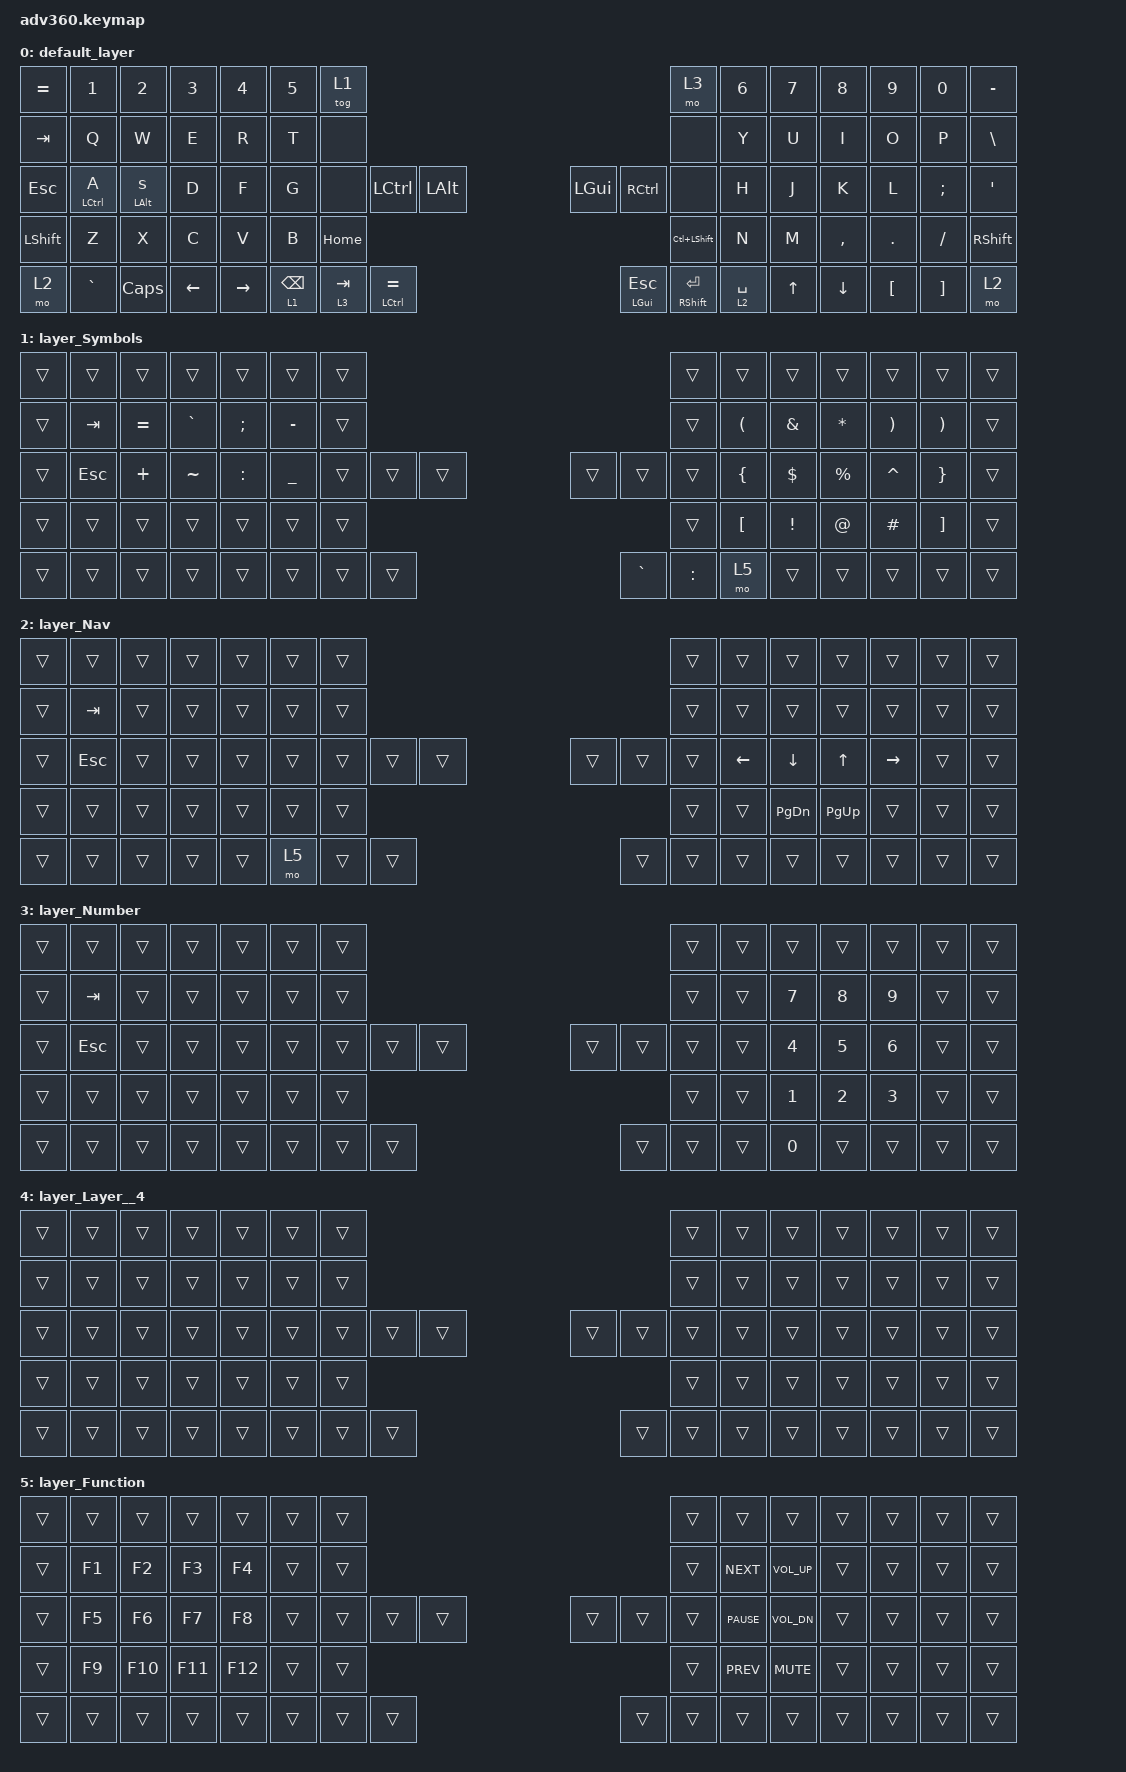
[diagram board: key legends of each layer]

/*
 * Copyright (c) 2020 The ZMK Contributors
 *
 * SPDX-License-Identifier: MIT
 */


/* THIS FILE WAS GENERATED!
 *
 * This file was generated automatically. You may or may not want to
 * edit it directly.
 */

#include <behaviors.dtsi>
#include <dt-bindings/zmk/keys.h>

/ {
  behaviors {
    #include "macros.dtsi"
    #include "version.dtsi"

    hm: homerow_mods {
        compatible = "zmk,behavior-hold-tap";
        label = "HOMEROW_MODS";
        #binding-cells = <2>;
        tapping-term-ms = <200>;
        quick_tap_ms = <175>;
        flavor = "tap-preferred";
        bindings = <&kp>, <&kp>;
    };
  };

    keymap {
        compatible = "zmk,keymap";


        default_layer {
            bindings = <
 &kp EQUAL       &kp N1          &kp N2    &kp N3     &kp N4  &kp N5                     &tog 1                                                                                               &mo 3  &kp N6  &kp N7     &kp N8    &kp N9    &kp N0  &kp MINUS
   &kp TAB        &kp Q           &kp W     &kp E      &kp R   &kp T                      &none                                                                                               &none   &kp Y   &kp U      &kp I     &kp O     &kp P   &kp BSLH
   &kp ESC  &hm LCTRL A  &hm LEFT_ALT s     &kp D      &kp F   &kp G                      &none  &kp LCTRL         &kp LALT                            &kp LGUI              &kp RCTRL        &none   &kp H   &kp J      &kp K     &kp L  &kp SEMI    &kp SQT
 &kp LSHFT        &kp Z           &kp X     &kp C      &kp V   &kp B                                               &kp HOME                  &kp LC(LEFT_SHIFT)                                       &kp N   &kp M  &kp COMMA   &kp DOT  &kp FSLH  &kp RSHFT
     &mo 2    &kp GRAVE        &kp CAPS  &kp LEFT  &kp RIGHT                    &lt 1 BACKSPACE  &lt 3 TAB  &mt LCTRL EQUAL                    &mt LEFT_GUI ESC  &mt RIGHT_SHIFT ENTER  &lt 2 SPACE          &kp UP   &kp DOWN  &kp LBKT  &kp RBKT      &mo 2
            >;
        };

        layer_Symbols {
            bindings = <
 &trans   &trans     &trans     &trans         &trans          &trans            &trans                                                        &trans                &trans           &trans        &trans                 &trans                 &trans  &trans
 &trans  &kp TAB  &kp EQUAL  &kp GRAVE  &kp SEMICOLON       &kp MINUS            &trans                                                        &trans  &kp LEFT_PARENTHESIS    &kp AMPERSAND  &kp ASTERISK  &kp RIGHT_PARENTHESIS  &kp RIGHT_PARENTHESIS  &trans
 &trans  &kp ESC   &kp PLUS  &kp TILDE      &kp COLON  &kp UNDERSCORE            &trans  &trans  &trans                     &trans     &trans  &trans        &kp LEFT_BRACE       &kp DOLLAR   &kp PERCENT              &kp CARET        &kp RIGHT_BRACE  &trans
 &trans   &trans     &trans     &trans         &trans          &trans                            &trans                     &trans                                 &kp LBKT  &kp EXCLAMATION   &kp AT_SIGN              &kp POUND               &kp RBKT  &trans
 &trans   &trans     &trans     &trans         &trans                            &trans  &trans  &trans                  &kp GRAVE  &kp COLON   &mo 5                                 &trans        &trans                 &trans                 &trans  &trans
            >;
        };

        layer_Nav {
            bindings = <
 &trans   &trans  &trans  &trans  &trans  &trans            &trans                                                  &trans    &trans         &trans       &trans     &trans  &trans  &trans
 &trans  &kp TAB  &trans  &trans  &trans  &trans            &trans                                                  &trans    &trans         &trans       &trans     &trans  &trans  &trans
 &trans  &kp ESC  &trans  &trans  &trans  &trans            &trans  &trans  &trans                  &trans  &trans  &trans  &kp LEFT       &kp DOWN       &kp UP  &kp RIGHT  &trans  &trans
 &trans   &trans  &trans  &trans  &trans  &trans                            &trans                  &trans                    &trans  &kp PAGE_DOWN  &kp PAGE_UP     &trans  &trans  &trans
 &trans   &trans  &trans  &trans  &trans                     &mo 5  &trans  &trans                  &trans  &trans  &trans                   &trans       &trans     &trans  &trans  &trans
            >;
        };

        layer_Number {
            bindings = <
 &trans   &trans  &trans  &trans  &trans  &trans            &trans                                                  &trans  &trans  &trans  &trans  &trans  &trans  &trans
 &trans  &kp TAB  &trans  &trans  &trans  &trans            &trans                                                  &trans  &trans  &kp N7  &kp N8  &kp N9  &trans  &trans
 &trans  &kp ESC  &trans  &trans  &trans  &trans            &trans  &trans  &trans                  &trans  &trans  &trans  &trans  &kp N4  &kp N5  &kp N6  &trans  &trans
 &trans   &trans  &trans  &trans  &trans  &trans                            &trans                  &trans                  &trans  &kp N1  &kp N2  &kp N3  &trans  &trans
 &trans   &trans  &trans  &trans  &trans                    &trans  &trans  &trans                  &trans  &trans  &trans          &kp N0  &trans  &trans  &trans  &trans
            >;
        };

        layer_Layer__4 {
            bindings = <
 &trans  &trans  &trans  &trans  &trans  &trans            &trans                                                  &trans  &trans  &trans  &trans  &trans  &trans  &trans
 &trans  &trans  &trans  &trans  &trans  &trans            &trans                                                  &trans  &trans  &trans  &trans  &trans  &trans  &trans
 &trans  &trans  &trans  &trans  &trans  &trans            &trans  &trans  &trans                  &trans  &trans  &trans  &trans  &trans  &trans  &trans  &trans  &trans
 &trans  &trans  &trans  &trans  &trans  &trans                            &trans                  &trans                  &trans  &trans  &trans  &trans  &trans  &trans
 &trans  &trans  &trans  &trans  &trans                    &trans  &trans  &trans                  &trans  &trans  &trans          &trans  &trans  &trans  &trans  &trans
            >;
        };

        layer_Function {
            bindings = <
 &trans  &trans   &trans   &trans   &trans  &trans            &trans                                                  &trans       &trans        &trans  &trans  &trans  &trans  &trans
 &trans  &kp F1   &kp F2   &kp F3   &kp F4  &trans            &trans                                                  &trans   &kp C_NEXT  &kp C_VOL_UP  &trans  &trans  &trans  &trans
 &trans  &kp F5   &kp F6   &kp F7   &kp F8  &trans            &trans  &trans  &trans                  &trans  &trans  &trans  &kp C_PAUSE  &kp C_VOL_DN  &trans  &trans  &trans  &trans
 &trans  &kp F9  &kp F10  &kp F11  &kp F12  &trans                            &trans                  &trans                   &kp C_PREV    &kp C_MUTE  &trans  &trans  &trans  &trans
 &trans  &trans   &trans   &trans   &trans                    &trans  &trans  &trans                  &trans  &trans  &trans                     &trans  &trans  &trans  &trans  &trans
            >;
        };

    };
};
